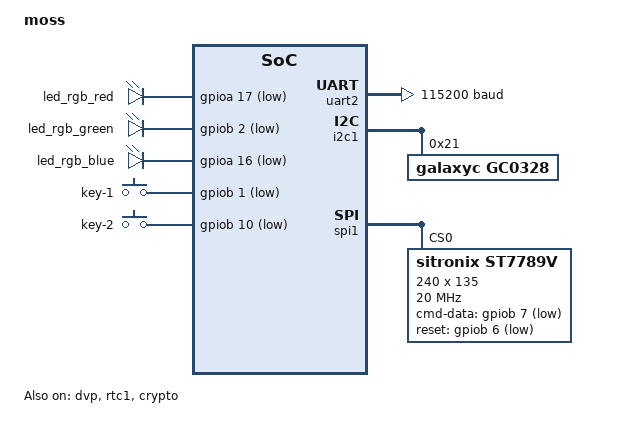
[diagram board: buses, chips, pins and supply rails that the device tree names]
/* SPDX-License-Identifier: Apache-2.0 */

/dts-v1/;
#include <csk/csk6011a.dtsi>
#include <zephyr/dt-bindings/dt-util.h>
#include <zephyr/dt-bindings/gpio/gpio.h>
#include <zephyr/dt-bindings/input/input-event-codes.h>
#include "moss_pinctrl.dtsi"

/ {
        model = "moss";
        compatible = "rice-shine,moss";

        chosen {
                zephyr,console = &uart2;
                zephyr,shell-uart = &uart2;
                zephyr,sram = &sram0;
                zephyr,itcm = &itcm0;
                zephyr,dtcm = &dtcm0;
                zephyr,flash_controller = &flash;
                zephyr,flash = &flash0;
                zephyr,entropy = &trng;
                zephyr,display=&st7789v;
                /* other chosen settings  for your hardware */
        };

        /*
         * Your board-specific hardware: buttons, LEDs, sensors, etc.
         */

        leds {
                compatible = "gpio-leds";
                led_rgb_red: led_rgb_red {
                        gpios = <&gpioa 17 GPIO_ACTIVE_LOW>;
                };
                led_rgb_green: led_rgb_green {
                        gpios = <&gpiob 2 GPIO_ACTIVE_LOW>;
                };
                led_rgb_blue: led_rgb_blue {
                        gpios = <&gpioa 16 GPIO_ACTIVE_LOW>;
                };
        };

        /* These aliases are provided for compatibility with samples */
        aliases {
                led-rgb-red = &led_rgb_red;
                led-rgb-green = &led_rgb_green;
                led-rgb-blue = &led_rgb_blue;
        };

        buttons {
                gpio-keys {
                        compatible = "zephyr,gpio-keys";

                        key-1 {
                                gpios = <&gpiob 1 GPIO_ACTIVE_LOW>;
                                zephyr,code = <INPUT_KEY_1>;
                        };

                        key-2 {
                                gpios = <&gpiob 10 GPIO_ACTIVE_LOW>;
                                zephyr,code = <INPUT_KEY_2>;
                        };
                };
        };
};

&flash0 {
        reg = <0x18000000 DT_SIZE_M(16)>;
        write-block-size = <4>;
        erase-block-size = <4096>;
        partitions {
                compatible = "fixed-partitions";
                #address-cells = <1>;
                #size-cells = <1>;

                /*The last 4K of flash is used for capability authentication, do not modify it*/
                reserve_partition: partition@fff000{
                        label = "reserve_capability_authentication";
                        reg = <0xfff000 0x1000>;          
                };
        };
};

&uart0 {
        status = "disabled";
        pinctrl-0 = <&pinctrl_uart0_rx_default &pinctrl_uart0_tx_default>;
        pinctrl-names = "default";
        current-speed = <115200>;
};

&uart2 {
        status = "okay";
        pinctrl-0 = <
        &pinctrl_uart2_rx_default 
        &pinctrl_uart2_tx_default
        >;
        pinctrl-names = "default";
        current-speed = <115200>;
};

&i2c1 {
        status = "okay";
        pinctrl-0 = <&pinctrl_i2c1_scl_default &pinctrl_i2c1_sda_default>;
        pinctrl-names = "default";

	gc0328: gc0328@21 {
		compatible = "galaxyc,gc0328";
		status = "okay";
		reg = <0x21>;
	};
};

&dvp {
        status = "okay";
        sensor = <&gc0328>;
        clock-prescaler = <20>;
        data-align-type = "high_align";
        pclk-polarity = "post_edge_sampling";
        hsync-polarity = "active_high";
        vsync-polarity = "active_low";

        pinctrl-0 = <
        &pinctrl_dvp_clkout_default
        &pinctrl_dvp_vsync_default
        &pinctrl_dvp_hsync_default
        &pinctrl_dvp_pclk_default
        &pinctrl_dvp_d0_default
        &pinctrl_dvp_d1_default
        &pinctrl_dvp_d2_default
        &pinctrl_dvp_d3_default
        &pinctrl_dvp_d4_default
        &pinctrl_dvp_d5_default
        &pinctrl_dvp_d6_default
        &pinctrl_dvp_d7_default
        >;
        pinctrl-names = "default";

};

&spi1 {
        status = "okay";
        pinctrl-0 = <&pinctrl_spi1_sclk_default &pinctrl_spi1_mosi_default &pinctrl_spi1_cs_default>;
        pinctrl-names = "default";

        st7789v: st7789v@0 {
                compatible = "sitronix,st7789v";
                status = "okay";
                spi-max-frequency = <20000000>;
                reg = <0>;
                cmd-data-gpios = <&gpiob 7 1>;
                reset-gpios = <&gpiob 6 1>;
                width = <240>;
                height = <135>;
                x-offset = <40>;
                y-offset = <52>;
                // reg: 0xBB
                vcom = <0x1e>;
                // reg: 0xB7
                gctrl = <0x35>;
                // reg: 0xC3
                vrhs = <0x0b>;
                // reg: 0xC4
                vdvs = <0x20>;
                // reg: 0x36
                mdac = <0xA3>;
                // reg: 0x26
                gamma = <0x01>;
                // reg: 0x3a
                colmod = <0x05>;
                // reg: 0xc0
                lcm = <0x3c>;
                // reg: 0xb2
                porch-param = [ 0c 0c 00 33 33  ];
                // reg: 0xDF
                cmd2en-param = [ 5a 69 02 01  ];
                // reg: 0xD0
                pwctrl1-param = [ a4 a1  ];
                // reg: 0xE0
                pvgam-param = [ d0 06 0b 07 07 24 2e 32 46 37 13 13 2d 33  ];
                // reg: 0xE1
                nvgam-param = [ d0 02 06 09 08 05 29 44 42 38 14 14 2a 30  ];
                // reg: b0
                ram-param = [ 00 F0  ];
                // reg: b1
                rgb-param = [ CD 08 14  ];
        };
};

&dma0 {
        dma-channels = <6>;
        status = "okay";
};

&mailbox0 {
        status = "okay";
};

&rtc1 {
        status = "okay";
};

&crypto {
        status = "okay";
};

/* disabled */

&uart1 {
        status = "disabled";
};

&spi0 {
	status = "disabled";
};

&i2c0 {
        status = "disabled";
};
